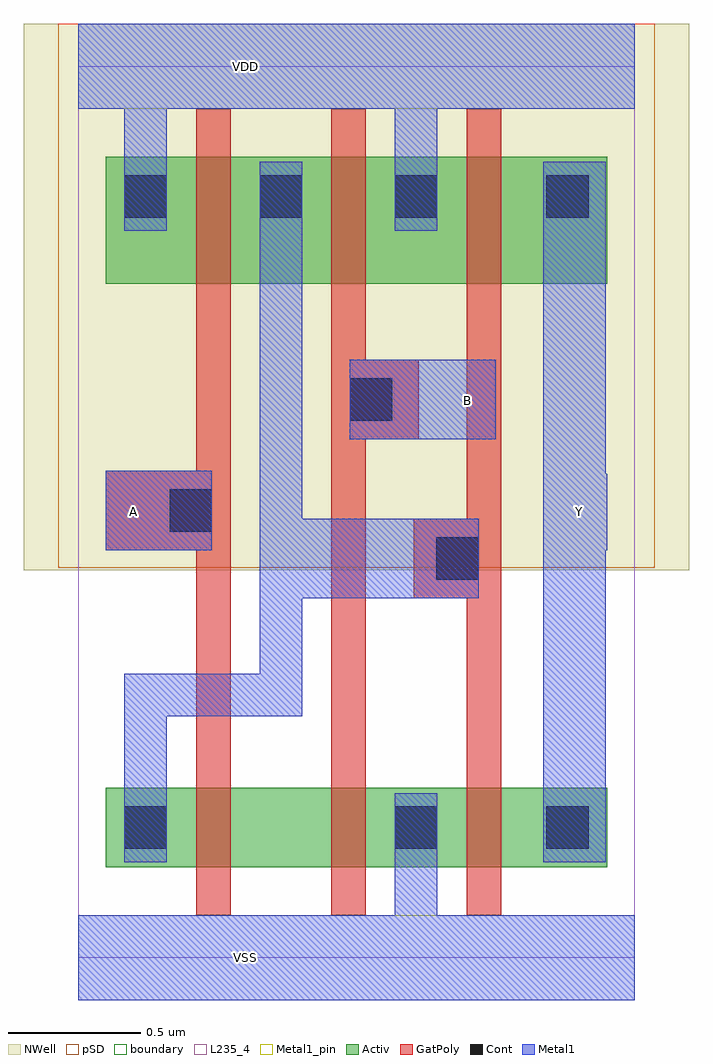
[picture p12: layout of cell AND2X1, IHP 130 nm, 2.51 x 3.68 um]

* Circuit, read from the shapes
.subckt AND2X1 A B VDD VSS Y
XM1 n1 A n2 VSUBS sg13_lv_nmos w=0.3u l=0.13u
XM2 VSS B n1 VSUBS sg13_lv_nmos w=0.3u l=0.13u
XM3 Y n2 VSS VSUBS sg13_lv_nmos w=0.3u l=0.13u
XM4 n2 A VDD n3 sg13_lv_pmos w=0.48u l=0.13u
XM5 VDD B n2 n3 sg13_lv_pmos w=0.48u l=0.13u
XM6 Y n2 VDD n3 sg13_lv_pmos w=0.48u l=0.13u
.ends

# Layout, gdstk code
import gdstk
lib = gdstk.Library(unit=1e-6, precision=1e-09)
def R(c, l, rs):  # rectangles x0, y0, x1, y1
    for r in rs: c.add(gdstk.rectangle(r[:2], r[2:], *l))
def A(c, l, x, y, w, h, nx, ny, dx, dy):  # array of equal rectangles
    R(c, l, [(x+i*dx, y+j*dy, x+i*dx+w, y+j*dy+h) for i in range(nx) for j in range(ny)])
def P(c, l, *ps):  # polygons
    for p in ps: c.add(gdstk.Polygon(p, *l))
Activ = (1, 0)
GatPoly = (5, 0)
Cont = (6, 0)
Metal1 = (8, 0)
Metal1_pin = (8, 2)
pSD = (14, 0)
NWell = (31, 0)
boundary = (189, 4)
L235_4 = (235, 4)

and2x1 = lib.new_cell('AND2X1')
R(and2x1, Activ, [(0.105,0.34,1.995,0.64), (0.105,2.54,1.995,3.02)])
P(and2x1, GatPoly, [(0.955,0.16),(0.955,3.2),(1.085,3.2),(1.085,2.255),(1.285,2.255),(1.285,1.955),(1.085,1.955),(1.085,0.16)],
  [(0.445,0.16),(0.445,1.535),(0.105,1.535),(0.105,1.835),(0.445,1.835),(0.445,3.2),(0.575,3.2),(0.575,0.16)],
  [(1.465,0.16),(1.465,1.355),(1.265,1.355),(1.265,1.655),(1.465,1.655),(1.465,3.2),(1.595,3.2),(1.595,0.16)])
A(and2x1, Cont, 0.175, 2.79, 0.16, 0.16, 3, 1, 0.51, 0)
R(and2x1, Cont, [(0.175,0.41,0.335,0.57), (1.195,0.41,1.355,0.57), (1.765,0.41,1.925,0.57), (1.35,1.425,1.51,1.585), (0.345,1.605,0.505,1.765), (1.025,2.025,1.185,2.185), (1.765,2.79,1.925,2.95)])
R(and2x1, Metal1, [(0.105,1.535,0.505,1.835), (1.025,1.955,1.575,2.255)])
P(and2x1, Metal1, [(0.175,2.74),(0.175,3.2),(0,3.2),(0,3.52),(2.1,3.52),(2.1,3.2),(1.355,3.2),(1.355,2.74),(1.195,2.74),(1.195,3.2),(0.335,3.2),(0.335,2.74)],
  [(0,-0.16),(0,0.16),(1.195,0.16),(1.195,0.62),(1.355,0.62),(1.355,0.16),(2.1,0.16),(2.1,-0.16)],
  [(0.175,0.36),(0.175,1.07),(0.685,1.07),(0.685,3),(0.845,3),(0.845,1.655),(1.51,1.655),(1.51,1.355),(0.845,1.355),(0.845,0.91),(0.335,0.91),(0.335,0.36)],
  [(1.755,0.36),(1.755,3),(1.99,3),(1.99,1.825),(1.995,1.825),(1.995,1.535),(1.99,1.535),(1.99,0.36)])
R(and2x1, Metal1_pin, [(0,-0.16,2.1,0.16), (0.105,1.535,0.505,1.835), (1.025,1.955,1.575,2.255), (0,3.2,2.1,3.52)])
P(and2x1, Metal1_pin, [(1.755,0.36),(1.755,3),(1.99,3),(1.99,1.825),(1.995,1.825),(1.995,1.535),(1.99,1.535),(1.99,0.36)])
R(and2x1, pSD, [(-0.075,1.47,2.175,3.52)])
R(and2x1, NWell, [(-0.205,1.46,2.305,3.52)])
R(and2x1, boundary, [(0,0,2.1,3.36)])
R(and2x1, L235_4, [(0,0,2.1,3.36)])
and2x1.add(gdstk.Label('Y', (1.89,1.68), layer=8, texttype=25))
and2x1.add(gdstk.Label('B', (1.47,2.1), layer=8, texttype=25))
and2x1.add(gdstk.Label('A', (0.21,1.68), layer=8, texttype=25))
and2x1.add(gdstk.Label('VDD', (0.63,3.36), layer=8, texttype=25))
and2x1.add(gdstk.Label('VSS', (0.63,0), layer=8, texttype=25))

lib.write_gds('AND2X1.gds')
